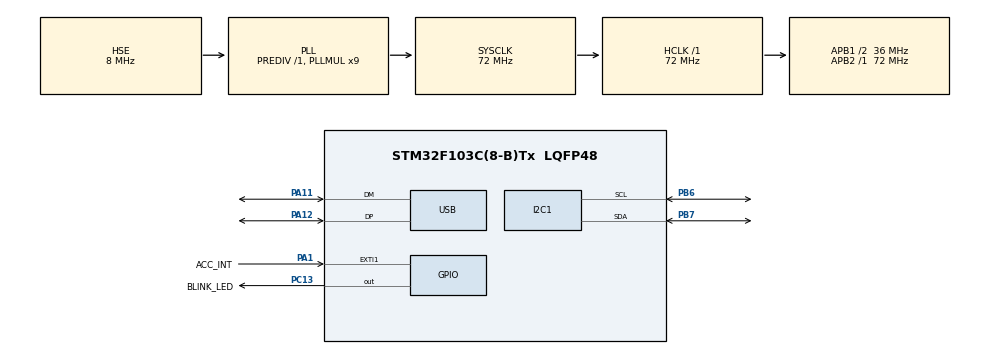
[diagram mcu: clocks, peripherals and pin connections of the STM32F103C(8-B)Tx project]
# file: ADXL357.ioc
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FREERTOS.Tasks01=defaultTask,24,128,StartDefaultTask,Default,NULL,Dynamic,NULL,NULL;Task500ms,24,128,Task500msHadler,Default,NULL,Dynamic,NULL,NULL;Task1000ms,24,128,Task1000msHadler,Default,NULL,Dynamic,NULL,NULL;Task1ms,24,128,Task1msHandler,Default,NULL,Dynamic,NULL,NULL
I2C1.I2C_Mode=I2C_Standard
Mcu.Family=STM32F1
Mcu.Name=STM32F103C(8-B)Tx
Mcu.Package=LQFP48
NVIC.EXTI1_IRQn=true\:5\:0\:false\:false\:true\:true\:true\:true\:true
NVIC.I2C1_ER_IRQn=true\:5\:0\:false\:false\:true\:true\:true\:true\:true
NVIC.I2C1_EV_IRQn=true\:5\:0\:false\:false\:true\:true\:true\:true\:true
NVIC.PriorityGroup=NVIC_PRIORITYGROUP_4
NVIC.TIM1_UP_IRQn=true\:15\:0\:false\:false\:true\:false\:true\:true\:true
NVIC.TimeBase=TIM1_UP_IRQn
NVIC.TimeBaseIP=TIM1
NVIC.USB_LP_CAN1_RX0_IRQn=true\:5\:0\:false\:false\:true\:true\:false\:true\:true
PA1.GPIO_Label=ACC_INT
PA1.Signal=GPXTI1
PA11.Mode=Device
PA11.Signal=USB_DM
PA12.Mode=Device
PA12.Signal=USB_DP
PA13.Mode=Serial_Wire
PA13.Signal=SYS_JTMS-SWDIO
PA14.Mode=Serial_Wire
PA14.Signal=SYS_JTCK-SWCLK
PB6.Mode=I2C
PB6.Signal=I2C1_SCL
PB7.Mode=I2C
PB7.Signal=I2C1_SDA
PC13-TAMPER-RTC.GPIO_Label=BLINK_LED
PC13-TAMPER-RTC.Signal=GPIO_Output
PD0-OSC_IN.Mode=HSE-External-Oscillator
PD0-OSC_IN.Signal=RCC_OSC_IN
PD1-OSC_OUT.Mode=HSE-External-Oscillator
PD1-OSC_OUT.Signal=RCC_OSC_OUT
ProjectManager.HeapSize=0x200
ProjectManager.StackSize=0x400
ProjectManager.TargetToolchain=MDK-ARM V5.32
RCC.AHBFreq_Value=72000000
RCC.APB1CLKDivider=RCC_HCLK_DIV2
RCC.APB1Freq_Value=36000000
RCC.APB1TimFreq_Value=72000000
RCC.APB2Freq_Value=72000000
RCC.APB2TimFreq_Value=72000000
RCC.HCLKFreq_Value=72000000
RCC.PLLMUL=RCC_PLL_MUL9
RCC.PLLSourceVirtual=RCC_PLLSOURCE_HSE
RCC.SYSCLKFreq_VALUE=72000000
RCC.SYSCLKSource=RCC_SYSCLKSOURCE_PLLCLK
RCC.USBFreq_Value=48000000
RCC.USBPrescaler=RCC_USBCLKSOURCE_PLL_DIV1_5
USB_DEVICE.CLASS_NAME_FS=CDC
USB_DEVICE.VirtualMode=Cdc
USB_DEVICE.VirtualModeFS=Cdc_FS
VP_FREERTOS_VS_CMSIS_V2.Mode=CMSIS_V2
VP_SYS_VS_tim1.Mode=TIM1
VP_USB_DEVICE_VS_USB_DEVICE_CDC_FS.Mode=CDC_FS
board=custom

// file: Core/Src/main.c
/* USER CODE BEGIN Header */
/**
  ******************************************************************************
  * @file           : main.c
  * @brief          : Main program body
  ******************************************************************************
  * @attention
  *
  * Copyright (c) 2024 STMicroelectronics.
  * All rights reserved.
  *
  * This software is licensed under terms that can be found in the LICENSE file
  * in the root directory of this software component.
  * If no LICENSE file comes with this software, it is provided AS-IS.
  *
  ******************************************************************************
  */
/* USER CODE END Header */
#include "main.h"
#include "cmsis_os.h"
#include "usb_device.h"

/* USER CODE BEGIN Includes */
#include "adxl357.h"
#include "usbd_cdc_if.h"
#include "task.h"
/* USER CODE END Includes */

I2C_HandleTypeDef hi2c1;

/* Definitions for defaultTask */
osThreadId_t defaultTaskHandle;
const osThreadAttr_t defaultTask_attributes = {
  .name = "defaultTask",
  .stack_size = 128 * 4,
  .priority = (osPriority_t) osPriorityNormal,
};
/* Definitions for Task500ms */
osThreadId_t Task500msHandle;
const osThreadAttr_t Task500ms_attributes = {
  .name = "Task500ms",
  .stack_size = 128 * 4,
  .priority = (osPriority_t) osPriorityNormal,
};
/* Definitions for Task1000ms */
osThreadId_t Task1000msHandle;
const osThreadAttr_t Task1000ms_attributes = {
  .name = "Task1000ms",
  .stack_size = 128 * 4,
  .priority = (osPriority_t) osPriorityNormal,
};
/* Definitions for Task1ms */
osThreadId_t Task1msHandle;
const osThreadAttr_t Task1ms_attributes = {
  .name = "Task1ms",
  .stack_size = 128 * 4,
  .priority = (osPriority_t) osPriorityNormal,
};
/* USER CODE BEGIN PV */
ADXL357_t acc;

uint8_t errNum;
uint8_t tx_buffer[64];

/* USER CODE END PV */

void SystemClock_Config(void);
static void MX_GPIO_Init(void);
static void MX_I2C1_Init(void);
void StartDefaultTask(void *argument);
void Task500msHadler(void *argument);
void Task1000msHadler(void *argument);
void Task1msHandler(void *argument);

int main(void)
{

  /* MCU Configuration--------------------------------------------------------*/

  /* Reset of all peripherals, Initializes the Flash interface and the Systick. */
  HAL_Init();

  /* Configure the system clock */
  SystemClock_Config();

  /* Initialize all configured peripherals */
  MX_GPIO_Init();
  MX_I2C1_Init();
  /* USER CODE BEGIN 2 */
	errNum = ADXL357_INIT(&acc, &hi2c1, ADXL357_20g, ADXL357_ODR_1kHz);

	if(errNum)
	{
		sprintf((char *)tx_buffer, "The sensor has not initialized. Check the connection.\r\n");
		CDC_Transmit_FS(tx_buffer, strlen((char const *)tx_buffer));
	}
	else
	{
		sprintf((char *)tx_buffer, "The sensor has initialized successfully.\r\n");
		CDC_Transmit_FS(tx_buffer, strlen((char const *)tx_buffer));
	}

  /* USER CODE END 2 */

  /* Init scheduler */
  osKernelInitialize();

  /* Create the thread(s) */
  /* creation of defaultTask */
  defaultTaskHandle = osThreadNew(StartDefaultTask, NULL, &defaultTask_attributes);

  /* creation of Task500ms */
  Task500msHandle = osThreadNew(Task500msHadler, NULL, &Task500ms_attributes);

  /* creation of Task1000ms */
  Task1000msHandle = osThreadNew(Task1000msHadler, NULL, &Task1000ms_attributes);

  /* creation of Task1ms */
  Task1msHandle = osThreadNew(Task1msHandler, NULL, &Task1ms_attributes);

  /* Start scheduler */
  osKernelStart();

  /* We should never get here as control is now taken by the scheduler */
  /* Infinite loop */
  while (1)
  {

  }
}

void SystemClock_Config(void)
{
  RCC_OscInitTypeDef RCC_OscInitStruct = {0};
  RCC_ClkInitTypeDef RCC_ClkInitStruct = {0};
  RCC_PeriphCLKInitTypeDef PeriphClkInit = {0};

  /** Initializes the RCC Oscillators according to the specified parameters
  * in the RCC_OscInitTypeDef structure.
  */
  RCC_OscInitStruct.OscillatorType = RCC_OSCILLATORTYPE_HSE;
  RCC_OscInitStruct.HSEState = RCC_HSE_ON;
  RCC_OscInitStruct.HSEPredivValue = RCC_HSE_PREDIV_DIV1;
  RCC_OscInitStruct.HSIState = RCC_HSI_ON;
  RCC_OscInitStruct.PLL.PLLState = RCC_PLL_ON;
  RCC_OscInitStruct.PLL.PLLSource = RCC_PLLSOURCE_HSE;
  RCC_OscInitStruct.PLL.PLLMUL = RCC_PLL_MUL9;
  if (HAL_RCC_OscConfig(&RCC_OscInitStruct) != HAL_OK)
  {
    Error_Handler();
  }

  /** Initializes the CPU, AHB and APB buses clocks
  */
  RCC_ClkInitStruct.ClockType = RCC_CLOCKTYPE_HCLK|RCC_CLOCKTYPE_SYSCLK
                              |RCC_CLOCKTYPE_PCLK1|RCC_CLOCKTYPE_PCLK2;
  RCC_ClkInitStruct.SYSCLKSource = RCC_SYSCLKSOURCE_PLLCLK;
  RCC_ClkInitStruct.AHBCLKDivider = RCC_SYSCLK_DIV1;
  RCC_ClkInitStruct.APB1CLKDivider = RCC_HCLK_DIV2;
  RCC_ClkInitStruct.APB2CLKDivider = RCC_HCLK_DIV1;

  if (HAL_RCC_ClockConfig(&RCC_ClkInitStruct, FLASH_LATENCY_2) != HAL_OK)
  {
    Error_Handler();
  }
  PeriphClkInit.PeriphClockSelection = RCC_PERIPHCLK_USB;
  PeriphClkInit.UsbClockSelection = RCC_USBCLKSOURCE_PLL_DIV1_5;
  if (HAL_RCCEx_PeriphCLKConfig(&PeriphClkInit) != HAL_OK)
  {
    Error_Handler();
  }
}

static void MX_I2C1_Init(void)
{

  hi2c1.Instance = I2C1;
  hi2c1.Init.ClockSpeed = 100000;
  hi2c1.Init.DutyCycle = I2C_DUTYCYCLE_2;
  hi2c1.Init.OwnAddress1 = 0;
  hi2c1.Init.AddressingMode = I2C_ADDRESSINGMODE_7BIT;
  hi2c1.Init.DualAddressMode = I2C_DUALADDRESS_DISABLE;
  hi2c1.Init.OwnAddress2 = 0;
  hi2c1.Init.GeneralCallMode = I2C_GENERALCALL_DISABLE;
  hi2c1.Init.NoStretchMode = I2C_NOSTRETCH_DISABLE;
  if (HAL_I2C_Init(&hi2c1) != HAL_OK)
  {
    Error_Handler();
  }

}

static void MX_GPIO_Init(void)
{
  GPIO_InitTypeDef GPIO_InitStruct = {0};

  /* GPIO Ports Clock Enable */
  __HAL_RCC_GPIOC_CLK_ENABLE();
  __HAL_RCC_GPIOD_CLK_ENABLE();
  __HAL_RCC_GPIOA_CLK_ENABLE();
  __HAL_RCC_GPIOB_CLK_ENABLE();

  /*Configure GPIO pin Output Level */
  HAL_GPIO_WritePin(BLINK_LED_GPIO_Port, BLINK_LED_Pin, GPIO_PIN_RESET);

  /*Configure GPIO pin : BLINK_LED_Pin */
  GPIO_InitStruct.Pin = BLINK_LED_Pin;
  GPIO_InitStruct.Mode = GPIO_MODE_OUTPUT_PP;
  GPIO_InitStruct.Pull = GPIO_NOPULL;
  GPIO_InitStruct.Speed = GPIO_SPEED_FREQ_LOW;
  HAL_GPIO_Init(BLINK_LED_GPIO_Port, &GPIO_InitStruct);

  /*Configure GPIO pin : ACC_INT_Pin */
  GPIO_InitStruct.Pin = ACC_INT_Pin;
  GPIO_InitStruct.Mode = GPIO_MODE_IT_RISING;
  GPIO_InitStruct.Pull = GPIO_NOPULL;
  HAL_GPIO_Init(ACC_INT_GPIO_Port, &GPIO_InitStruct);

  /* EXTI interrupt init*/
  HAL_NVIC_SetPriority(EXTI1_IRQn, 5, 0);
  HAL_NVIC_EnableIRQ(EXTI1_IRQn);

}

void StartDefaultTask(void *argument)
{
  /* init code for USB_DEVICE */
  MX_USB_DEVICE_Init();
  for(;;)
  {
    osDelay(1);
  }
}

void Task500msHadler(void *argument)
{
  /* USER CODE BEGIN Task500msHadler */
	TickType_t xLastWakeTime;
	const TickType_t xFrequency = 500 / portTICK_PERIOD_MS;

  xLastWakeTime = xTaskGetTickCount();
  /* Infinite loop */
  for(;;)
  {
		HAL_GPIO_TogglePin(BLINK_LED_GPIO_Port, BLINK_LED_Pin);

    vTaskDelayUntil(&xLastWakeTime, xFrequency);
  }
  /* USER CODE END Task500msHadler */
}

void Task1000msHadler(void *argument)
{
  /* USER CODE BEGIN Task1000msHadler */
	TickType_t xLastWakeTime;
	const TickType_t xFrequency = 1000 / portTICK_PERIOD_MS;

  xLastWakeTime = xTaskGetTickCount();
  /* Infinite loop */
  for(;;)
  {
		sprintf((char *)tx_buffer, "Acceleration [m/s2]: Ax=%.3f\tAy=%.3f\tAz=%.3f\n\r", acc.acc_mps2[0], acc.acc_mps2[1], acc.acc_mps2[2]);
		CDC_Transmit_FS(tx_buffer, strlen((char const *)tx_buffer));

    vTaskDelayUntil(&xLastWakeTime, xFrequency);
  }
  /* USER CODE END Task1000msHadler */
}

void Task1msHandler(void *argument)
{
  /* USER CODE BEGIN Task1msHandler */
	TickType_t xLastWakeTime;
	const TickType_t xFrequency = 1 / portTICK_PERIOD_MS;

  xLastWakeTime = xTaskGetTickCount();
  /* Infinite loop */
  for(;;)
  {
		ADXL357_ReadAcc(&acc);

    vTaskDelayUntil(&xLastWakeTime, xFrequency);
  }
  /* USER CODE END Task1msHandler */
}

void HAL_TIM_PeriodElapsedCallback(TIM_HandleTypeDef *htim)
{
  if (htim->Instance == TIM1) {
    HAL_IncTick();
  }
}

void Error_Handler(void)
{
  __disable_irq();
  while (1)
  {
  }
}
